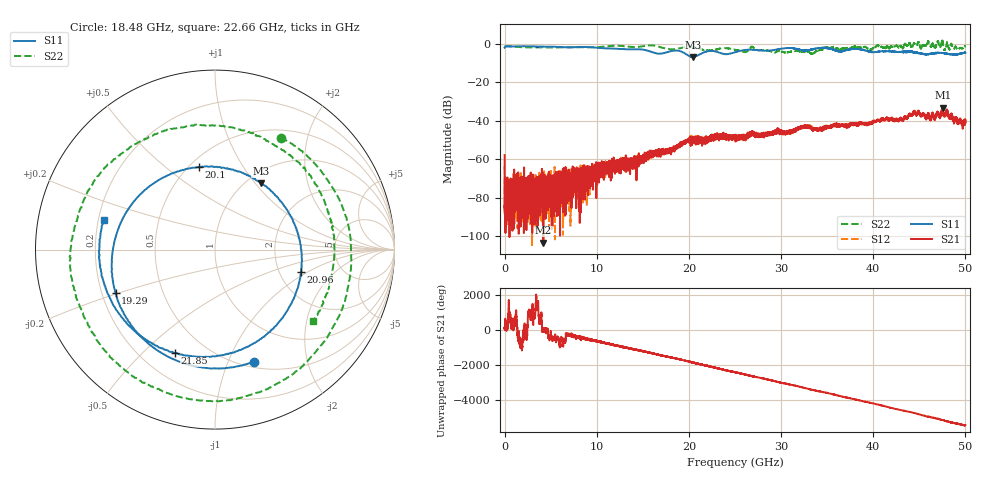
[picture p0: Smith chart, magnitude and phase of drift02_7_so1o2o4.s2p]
!Created with skrf (http://scikit-rf.org).
# Hz S RI R 50.0
!freq ReS11 ImS11 ReS21 ImS21 ReS12 ImS12 ReS22 ImS22
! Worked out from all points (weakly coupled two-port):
!   10001 points, 300 kHz to 50 GHz, reference 50 ohm
!   highest |S21| = -33.29 dB at 47.55 GHz (marker M1); lowest = -103.3 dB at 4.205 GHz (marker M2)
!   lowest |S11| = -7.0 dB at 20.43 GHz (marker M3), VSWR 2.63, Z = 57.8 + j53.5 ohm
!   |S11| at or under -10 dB: nowhere
!   |S22| runs from -5.4 to 1.6 dB; largest |S21 - S12| = 0.0031
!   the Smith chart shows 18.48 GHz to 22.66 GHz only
!   S11 on the Smith chart (normalised r, x): 18.48 GHz: 0.56, -1.24; 19.29 GHz: 0.26, -0.20; 20.1 GHz: 0.56, +0.66; 20.96 GHz: 2.63, -0.86; 21.85 GHz: 0.34, -0.63; 22.66 GHz: 0.22, +0.13
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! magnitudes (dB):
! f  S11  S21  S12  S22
! 300 kHz  -2.1  -57.8  -63.8  -1.3
! 255.3 MHz  -1.4  -75.5  -80.5  -1.4
! 4.205 GHz  -1.6  -103.3  -76.5  -2.0
! 8.335 GHz  -1.7  -71.0  -69.1  -1.9
! 10.35 GHz  -2.3  -63.9  -62.6  -1.8
! 16.67 GHz  -5.2  -55.6  -56.1  -1.5
! 18.48 GHz  -3.6  -54.6  -55.0  -2.8
! 19.29 GHz  -4.4  -51.2  -51.1  -2.1
! 20.1 GHz  -6.6  -51.5  -51.2  -1.5
! 20.43 GHz  -7.0  -51.6  -50.0  -1.8
! 20.96 GHz  -6.1  -51.5  -50.2  -2.2
! 21.85 GHz  -4.2  -50.0  -49.5  -3.5
! 22.66 GHz  -3.9  -50.5  -49.4  -3.4
! 25 GHz  -4.5  -48.1  -49.1  -3.2
! 26.11 GHz  -3.3  -48.9  -48.6  -4.4
! 26.9 GHz  -3.2  -46.5  -47.4  -1.7
! 33.34 GHz  -3.0  -43.8  -43.8  -5.3
! 34.9 GHz  -2.3  -43.3  -43.1  -2.1
! 41.67 GHz  -4.0  -39.1  -39.0  -2.1
! 44.61 GHz  -4.7  -36.8  -36.6  -0.6
! 47.55 GHz  -4.9  -33.3  -34.6  0.6
! 50 GHz  -4.7  -41.2  -40.2  -1.4
